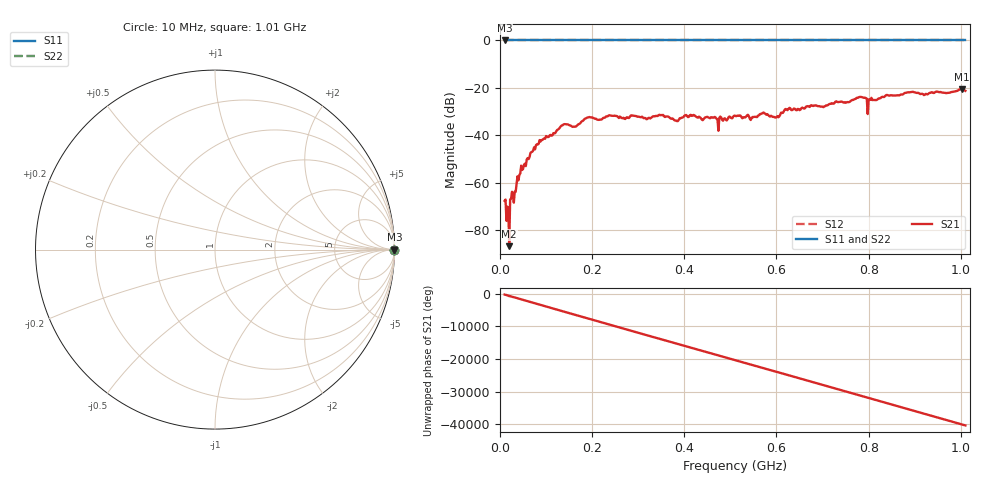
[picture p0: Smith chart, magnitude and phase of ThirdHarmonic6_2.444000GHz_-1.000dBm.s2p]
! 8/17/2025 4:19:23 AM
! C:\ANRITSUVNA\TEMP\TEMP.S2P
! CHANNEL.1
! TR.MEASUREMENT
! RAW.DATA
! RF.CORRECTION.OFF
! AVERAGING.OFF
! IF.BANDWIDTH: 5KHZ
! SWEEPTYPE:  FREQ.SWEEP(Linear)
! Reference Plane Port Info
! PORT:  PORT1  PORT2
! DISTANCE:  0  m  0  m
! TIME:  0  s  0  s
! PHASE.OFFSET:  0  deg.  0  deg.
! LOSS:  0  dB  0  dB
! REF.LOSS:  0  dB  0  dB
! REF.FREQ:  0  Hz  0  Hz
! Power Info
! POWER:  -20  dBm  -20  dBm
! EFF.POWER:  -20  dBm  -20  dBm
! SOURCE.ATTEN:  0  dB  0  dB
! TEST.ATTEN:  0  dB  0  dB
# GHZ S RI R 50.0
! FREQ.GHZ  S11RE  S11IM  S21RE  S21IM  S12RE  S12IM  S22RE  S22IM
!; PortSelection: Port_12
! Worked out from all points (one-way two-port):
!   501 points, 10 MHz to 1.01 GHz, reference 50 ohm
!   highest |S21| = -20.50 dB at 1.002 GHz (marker M1); lowest = -86.7 dB at 20 MHz (marker M2)
!   lowest |S11| = 0.0 dB at 10 MHz (marker M3)
!   |S11| at or under -10 dB: nowhere
!   |S22| runs from 0.0 to 0.0 dB; largest |S21 - S12| = 1.1
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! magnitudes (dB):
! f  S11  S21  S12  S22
! 10 MHz  0.0  -67.6  0.0  0.0
! 16 MHz  0.0  -70.0  0.0  0.0
! 20 MHz  0.0  -86.7  0.0  0.0
! 42 MHz  0.0  -56.6  0.0  0.0
! 82 MHz  0.0  -43.8  0.0  0.0
! 136 MHz  0.0  -35.7  0.0  0.0
! 162 MHz  0.0  -36.3  0.0  0.0
! 178 MHz  0.0  -34.0  0.0  0.0
! 238 MHz  0.0  -31.5  0.0  0.0
! 344 MHz  0.0  -31.5  0.0  0.0
! 382 MHz  0.0  -33.7  0.0  0.0
! 416 MHz  0.0  -31.8  0.0  0.0
! 472 MHz  0.0  -33.2  0.0  0.0
! 510 MHz  0.0  -31.7  0.0  0.0
! 600 MHz  0.0  -32.4  0.0  0.0
! 624 MHz  0.0  -29.4  0.0  0.0
! 678 MHz  0.0  -27.5  0.0  0.0
! 782 MHz  0.0  -23.8  0.0  0.0
! 800 MHz  0.0  -24.9  0.0  0.0
! 844 MHz  0.0  -23.2  0.0  0.0
! 1.002 GHz  0.0  -20.5  0.0  0.0
! 1.01 GHz  0.0  -21.2  0.0  0.0
